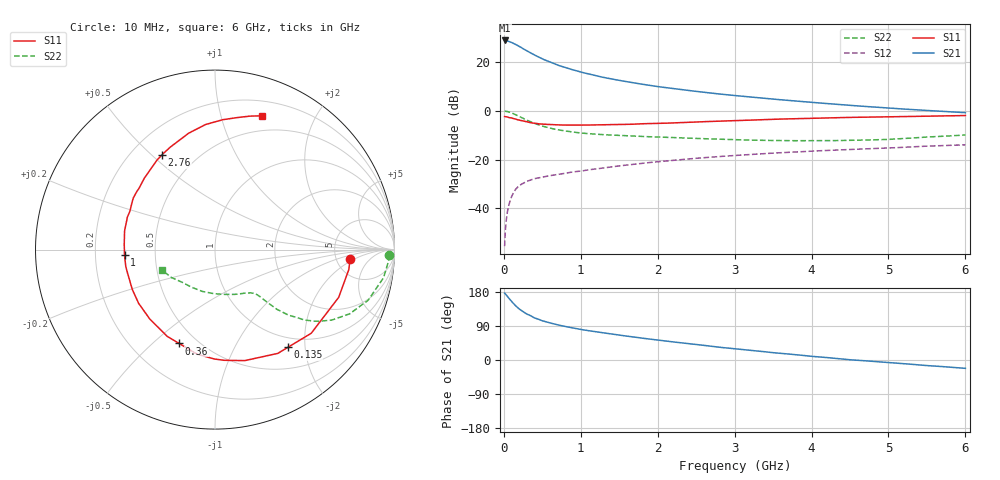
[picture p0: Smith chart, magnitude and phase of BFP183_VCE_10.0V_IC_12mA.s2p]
! Infineon Technologies  Discrete & RF Semiconductors
! BFP183
! VCE = 10.0V,  IC =  12 mA
! Common Emitter S-Parameters:  Jan 2016
# GHz  S  MA  R  50
!  f  S11  S21  S12  S22
! GHz  MAG  ANG  MAG  ANG  MAG  ANG  MAG  ANG
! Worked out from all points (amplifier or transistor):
!   210 points, 10 MHz to 6 GHz, reference 50 ohm
!   highest |S21| = 28.6 dB at 10 MHz (marker M1)
!   |S21| within 3 dB of that: start of sweep to 231.2 MHz
!   unconditionally stable (mu >= 1): 1.196 GHz to 5.892 GHz
!   at 185 MHz: K = 0.27, MSG = 28.8 dB, |S12| = -31.1 dB
!   at 1.52 GHz: K = 1.07, MAG = 15.7 dB, |S12| = -22.5 dB
!   at 6 GHz: K = 0.98, MSG = 6.6 dB, |S12| = -14.0 dB
!   S11 on the Smith chart (normalised r, x): 10 MHz: 6.72, -1.64; 135 MHz: 0.83, -1.68; 360 MHz: 0.40, -0.61; 1 GHz: 0.33, -0.03; 2.76 GHz: 0.32, +0.54; 6 GHz: 0.34, +1.36
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0.01  0.7539 -4.0  27.02 176.6  0.0017 68.7  0.9725 -1.8
0.05  0.7387 -21.1  26.4 166.5  0.0093 79.2  0.9521 -9.5
0.09  0.709 -36.9  24.88 156.9  0.0158 70.7  0.9076 -16.5
0.135  0.6792 -53.3  23.11 147.1  0.0222 64.0  0.8501 -23.2
0.15  0.676 -58.8  22.59 143.7  0.0243 62.3  0.8314 -25.5
0.2  0.6403 -75.0  20.55 134.6  0.0294 56.9  0.7602 -31.1
0.26  0.6096 -90.3  17.96 126.0  0.0333 52.3  0.6815 -35.8
0.3  0.5912 -99.7  16.55 121.2  0.0359 50.0  0.6355 -38.1
0.36  0.56 -110.9  14.71 115.5  0.0388 47.7  0.5815 -40.2
0.4  0.5519 -118.8  13.59 110.9  0.0407 46.4  0.546 -41.8
0.5  0.5307 -133.2  11.33 103.5  0.0437 43.5  0.4812 -43.9
0.6  0.5203 -144.8  9.772 97.7  0.0468 43.4  0.4363 -44.8
0.8  0.505 -162.4  7.542 88.3  0.0524 42.5  0.3824 -45.8
1  0.505 -176.4  6.11 80.7  0.0579 43.6  0.3483 -46.8
1.02  0.5048 -177.5  6.007 80.1  0.0586 43.6  0.346 -46.9
1.5  0.5207 159.8  4.132 65.6  0.0742 43.9  0.3105 -50.9
2.02  0.5453 140.4  3.057 52.2  0.0907 42.8  0.2876 -58.4
2.76  0.6049 119.2  2.216 34.7  0.1139 38.6  0.2614 -73.3
3.1  0.6296 111.3  1.96 27.8  0.1236 36.3  0.2513 -81.4
4.1  0.7031 92.7  1.43 8.1  0.1508 28.9  0.2427 -109.7
5.1  0.7494 79.5  1.097 -8.2  0.1747 22.6  0.2628 -137.6
6  0.7909 70.5  0.906 -22.0  0.1995 15.0  0.3171 -158.8
